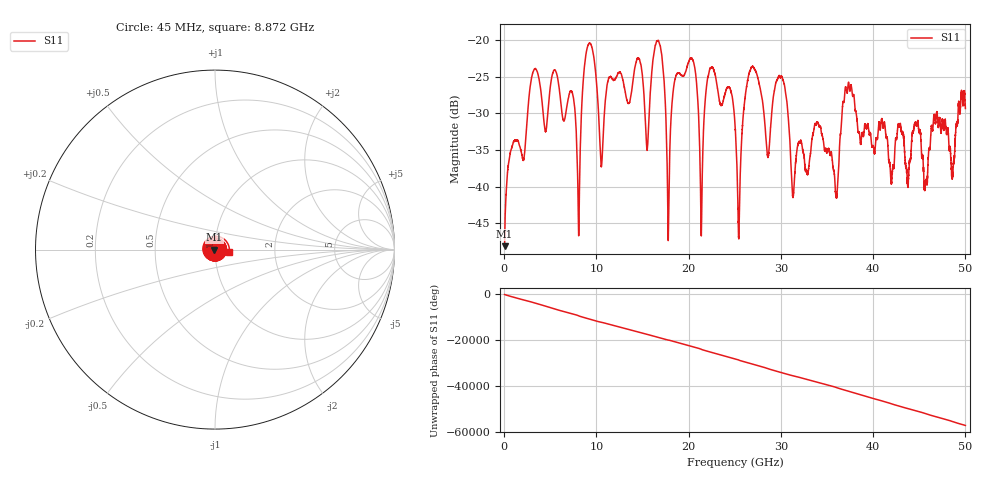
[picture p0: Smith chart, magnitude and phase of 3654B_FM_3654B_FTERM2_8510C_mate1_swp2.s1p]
!Created with skrf (http://scikit-rf.org).
# Hz S RI R 50.0
!freq ReS11 ImS11
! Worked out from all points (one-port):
!   10001 points, 45 MHz to 50 GHz, reference 50 ohm
!   lowest |S11| = -48.2 dB at 45 MHz (marker M1), VSWR 1.01, Z = 49.6 - j0.0847 ohm
!   |S11| at or under -10 dB: start of sweep to end of sweep
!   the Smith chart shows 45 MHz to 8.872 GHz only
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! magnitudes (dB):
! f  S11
! 45 MHz  -48.2
! 3.207 GHz  -24.1
! 6.289 GHz  -30.2
! 7.408 GHz  -27.3
! 8.063 GHz  -46.2
! 9.102 GHz  -20.6
! 10.53 GHz  -37.3
! 12.53 GHz  -24.3
! 14.64 GHz  -22.5
! 15.5 GHz  -35.0
! 16.76 GHz  -20.2
! 17.8 GHz  -46.4
! 18.78 GHz  -24.5
! 20.55 GHz  -23.0
! 21.37 GHz  -46.7
! 22.4 GHz  -23.7
! 25.02 GHz  -31.5
! 25.44 GHz  -46.6
! 26.67 GHz  -24.1
! 28.58 GHz  -36.0
! 30 GHz  -25.0
! 31.27 GHz  -41.3
! 33.88 GHz  -31.2
! 36.02 GHz  -41.3
! 37.51 GHz  -26.7
! 43.76 GHz  -39.9
! 48.63 GHz  -38.1
! 50 GHz  -29.3
